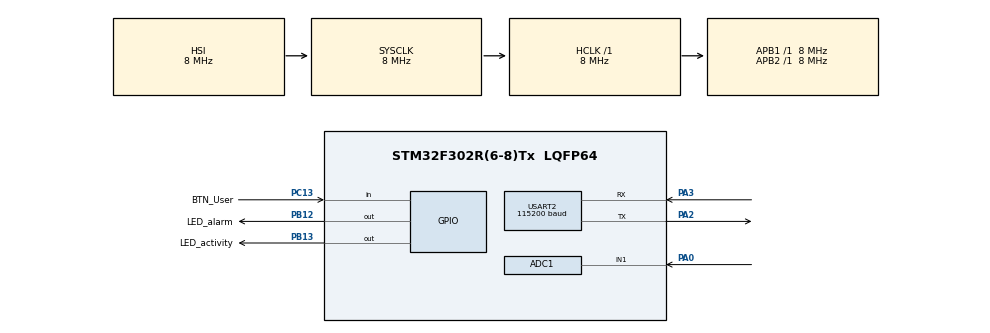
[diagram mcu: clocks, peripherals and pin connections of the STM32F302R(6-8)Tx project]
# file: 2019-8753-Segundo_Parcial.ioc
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ADC1.Channel-0\#ChannelRegularConversion=ADC_CHANNEL_1
ADC1.NbrOfConversionFlag=1
ADC1.Offset-0\#ChannelRegularConversion=0
ADC1.OffsetNumber-0\#ChannelRegularConversion=ADC_OFFSET_NONE
ADC1.Rank-0\#ChannelRegularConversion=1
ADC1.SamplingTime-0\#ChannelRegularConversion=ADC_SAMPLETIME_61CYCLES_5
ADC1.SubFamily=STM32F302x8
ADC1.master=1
Mcu.Family=STM32F3
Mcu.Name=STM32F302R(6-8)Tx
Mcu.Package=LQFP64
NVIC.ADC1_IRQn=true\:0\:0\:false\:false\:true\:true\:true
NVIC.PriorityGroup=NVIC_PRIORITYGROUP_4
NVIC.TIM6_DAC_IRQn=true\:0\:0\:false\:false\:true\:true\:true
NVIC.USART2_IRQn=true\:0\:0\:false\:false\:true\:true\:true
PA0.Mode=IN1-Single-Ended
PA0.Signal=ADC1_IN1
PA2.Mode=Asynchronous
PA2.Signal=USART2_TX
PA3.Mode=Asynchronous
PA3.Signal=USART2_RX
PB12.GPIO_Label=LED_alarm
PB12.Signal=GPIO_Output
PB13.GPIO_Label=LED_activity
PB13.Signal=GPIO_Output
PC13.GPIO_Label=BTN_User
PC13.Signal=GPIO_Input
ProjectManager.HeapSize=0x200
ProjectManager.StackSize=0x400
ProjectManager.TargetToolchain=STM32CubeIDE
RCC.AHBFreq_Value=8000000
RCC.APB1Freq_Value=8000000
RCC.APB2Freq_Value=8000000
RCC.CortexFreq_Value=8000000
RCC.HSE_VALUE=8000000
RCC.HSI_VALUE=8000000
RCC.LSE_VALUE=32768
RCC.PLLMUL=RCC_PLL_MUL4
RCC.SYSCLKFreq_VALUE=8000000
RCC.USBFreq_Value=16000000
TIM6.Period=99
TIM6.Prescaler=79
USART2.BaudRate=115200
USART2.VirtualMode-Asynchronous=VM_ASYNC
VP_TIM6_VS_ClockSourceINT.Mode=Enable_Timer
board=custom

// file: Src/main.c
/* USER CODE BEGIN Header */
/**
  ******************************************************************************
  * @file           : main.c
  * @brief          : Main program body
  ******************************************************************************
  * @attention
  *
  * <h2><center>&copy; Copyright (c) 2026 STMicroelectronics.
  * All rights reserved.</center></h2>
  *
  * This software component is licensed by ST under BSD 3-Clause license,
  * the "License"; You may not use this file except in compliance with the
  * License. You may obtain a copy of the License at:
  *                        opensource.org/licenses/BSD-3-Clause
  *
  ******************************************************************************
  */
/* USER CODE END Header */

#include "main.h"

/* USER CODE BEGIN Includes */

#include <string.h>
#include <stdio.h>

/* USER CODE END Includes */

ADC_HandleTypeDef hadc1;

TIM_HandleTypeDef htim6;

UART_HandleTypeDef huart2;

/* USER CODE BEGIN PV */
volatile uint32_t g_msTicks = 0;

volatile uint16_t g_adcValue = 0;
volatile uint8_t g_adcPct = 0;
volatile uint8_t g_adcValid = 0;

static uint32_t adcLastSampleMs = 0;
static volatile uint8_t adcBusy = 0;

volatile uint32_t g_adcSampleCount = 0;
volatile uint32_t g_adcLastInterval = 0;
volatile uint32_t g_adcLastTime = 0;

static uint32_t ledLastToggleMs = 0;
static uint32_t uartLastTelemetryMs = 0U;

volatile uint8_t g_buttonRaw = 0;

/* Control del boton USER B1 - PC13 */
static uint8_t buttonRawState = GPIO_PIN_SET;
static uint8_t buttonStableState = GPIO_PIN_SET;
static uint32_t buttonLastChangeMs = 0;

volatile uint32_t g_buttonPressCount = 0;

/* Modos de funcionamiento */
#define MODE_RUN   0U
#define MODE_PAUSE 1U

volatile uint8_t g_systemMode = MODE_RUN;

/* Control de alarma */
#define ALARM_THRESHOLD_DEFAULT 70U
#define ALARM_HYSTERESIS         5U

volatile uint8_t g_alarmThreshold = ALARM_THRESHOLD_DEFAULT;
volatile uint8_t g_alarmActive = 0U;

static uint8_t alarmForceReevaluate = 1U;

/* Mensaje de bienvenida UART */
static uint8_t uartWelcomeMsg[] =
    "\r\nSEGUNDO PARCIAL - STM32\r\n"
    "UART USART2 INICIADA\r\n";

/* Recepcion UART por interrupciones */
#define UART_MAX_LINE_LENGTH 32U
#define UART_RX_BUFFER_SIZE (UART_MAX_LINE_LENGTH + 1U)

static uint8_t uartRxByte;

#define UART_QUEUE_SIZE 8U

#define UART_EVENT_COMMAND 1U
#define UART_EVENT_ERROR   2U

typedef struct
{
    uint8_t type;
    char text[UART_RX_BUFFER_SIZE];
} UART_Event_t;

static uint8_t uartRxIndex = 0U;
static char uartRxBuffer[UART_RX_BUFFER_SIZE];

/* Cola FIFO de eventos UART */
static UART_Event_t uartQueue[UART_QUEUE_SIZE];

static volatile uint8_t uartQueueHead = 0U;
static volatile uint8_t uartQueueTail = 0U;
static volatile uint8_t uartQueueCount = 0U;

/* Cola de transmision UART */
#define UART_TX_QUEUE_SIZE 8U
#define UART_TX_MESSAGE_SIZE 96U

static char uartTxQueue[UART_TX_QUEUE_SIZE][UART_TX_MESSAGE_SIZE];

static volatile uint8_t uartTxHead = 0U;
static volatile uint8_t uartTxTail = 0U;
static volatile uint8_t uartTxCount = 0U;
static volatile uint8_t uartTxBusy = 0U;

static volatile uint32_t uartTxOverflowCount = 0U;

/* Indica que la linea actual debe descartarse hasta LF */
static volatile uint8_t uartDiscardLine = 0U;

/* Estadisticas de recepcion */
static volatile uint32_t uartLinesReceived = 0U;
static volatile uint32_t uartRxOverflowCount = 0U;

static const char uartErrorMsg[] = "ERR\r\n";
/* USER CODE END PV */

void SystemClock_Config(void);
static void MX_GPIO_Init(void);
static void MX_ADC1_Init(void);
static void MX_TIM6_Init(void);
static void MX_USART2_UART_Init(void);
/* USER CODE BEGIN PFP */
static void Button_Update(uint32_t now);

static void Alarm_Update(void);

static void UART_SendResponse(const char *message);

static void UART_SendStatus(void);

static uint8_t UART_ParseThreshold(const char *command, uint8_t *threshold);
static void UART_QueuePush(uint8_t type, const char *text);

static uint8_t UART_TxEnqueue(const char *message);
static void UART_TxStartNext(void);

/* USER CODE END PFP */

int main(void)
{

  /* MCU Configuration--------------------------------------------------------*/

  /* Reset of all peripherals, Initializes the Flash interface and the Systick. */
  HAL_Init();

  /* Configure the system clock */
  SystemClock_Config();

  /* Initialize all configured peripherals */
  MX_GPIO_Init();
  MX_ADC1_Init();
  MX_TIM6_Init();
  MX_USART2_UART_Init();
  /* USER CODE BEGIN 2 */
  if (HAL_TIM_Base_Start_IT(&htim6) != HAL_OK)
  {
      Error_Handler();
  }

  if (HAL_ADCEx_Calibration_Start(&hadc1, ADC_SINGLE_ENDED) != HAL_OK)
  {
      Error_Handler();
  }

  /* Enviar mensaje de bienvenida por USART2 */
  HAL_UART_Transmit(
      &huart2,
      uartWelcomeMsg,
      sizeof(uartWelcomeMsg) - 1U,
      100U
  );

  /* Iniciar recepcion UART por interrupciones */
  if (HAL_UART_Receive_IT(&huart2, &uartRxByte, 1U) != HAL_OK)
  {
      Error_Handler();
  }
  /* USER CODE END 2 */

  /* Infinite loop */
  while (1)
  {

      /* USER CODE BEGIN 3 */

      uint32_t now = g_msTicks;
      Button_Update(now);
      Alarm_Update();
      g_buttonRaw = (uint8_t)HAL_GPIO_ReadPin(GPIOC, GPIO_PIN_13);

      /* ADC cada 100 ms */
      if ((uint32_t)(now - adcLastSampleMs) >= 100U)
      {
          adcLastSampleMs += 100U;

          if (adcBusy == 0U)
          {
              adcBusy = 1U;

              if (HAL_ADC_Start_IT(&hadc1) != HAL_OK)
              {
                  adcBusy = 0U;
              }
          }
      }

      /* LED cada 500 ms */
      if ((uint32_t)(now - ledLastToggleMs) >= 500U)
      {
          ledLastToggleMs += 500U;

          HAL_GPIO_TogglePin(GPIOB, GPIO_PIN_13);
      }

      /* Telemetria automatica cada 1000 ms */
      if ((uint32_t)(now - uartLastTelemetryMs) >= 1000U)
      {
          uartLastTelemetryMs += 1000U;
          UART_SendStatus();
      }

      /* Procesar una linea UART recibida */
      /* Procesar el siguiente evento UART de la cola FIFO */
      if (uartQueueCount > 0U)
      {
          UART_Event_t eventToProcess;
          uint8_t hasEvent = 0U;

          /* Extraer el evento de forma segura */
          __disable_irq();

          if (uartQueueCount > 0U)
          {
              eventToProcess = uartQueue[uartQueueTail];

              uartQueueTail =
                  (uint8_t)((uartQueueTail + 1U) % UART_QUEUE_SIZE);

              uartQueueCount--;
              hasEvent = 1U;
          }

          __enable_irq();

          if (hasEvent != 0U)
          {
              if (eventToProcess.type == UART_EVENT_ERROR)
              {
                  UART_SendResponse(uartErrorMsg);
              }
              else if (eventToProcess.type == UART_EVENT_COMMAND)
              {
                  const char *commandToProcess = eventToProcess.text;

                  if (strcmp(commandToProcess, "STATUS") == 0)
                  {
                      UART_SendStatus();
                  }
                  else if (strcmp(commandToProcess, "STOP") == 0)
                  {
                      g_systemMode = MODE_PAUSE;
                      Alarm_Update();

                      UART_SendResponse("OK PAUSE\r\n");
                  }
                  else if (strcmp(commandToProcess, "START") == 0)
                  {
                      if (g_systemMode == MODE_PAUSE)
                      {
                          g_systemMode = MODE_RUN;
                          Alarm_Update();
                      }

                      UART_SendResponse("OK RUN\r\n");
                  }
                  else if (strncmp(commandToProcess, "THR ", 4U) == 0)
                  {
                      uint8_t newThreshold;

                      if (UART_ParseThreshold(
                              commandToProcess,
                              &newThreshold) != 0U)
                      {
                          char response[24];

                          g_alarmThreshold = newThreshold;

                          if (g_systemMode == MODE_RUN)
                          {
                              alarmForceReevaluate = 1U;
                              Alarm_Update();
                          }

                          snprintf(
                              response,
                              sizeof(response),
                              "OK THR=%u\r\n",
                              (unsigned int)newThreshold
                          );

                          UART_SendResponse(response);
                      }
                      else
                      {
                          UART_SendResponse(uartErrorMsg);
                      }
                  }
                  else
                  {
                      UART_SendResponse(uartErrorMsg);
                  }
              }
          }
      }
      /* Iniciar el siguiente mensaje pendiente de la cola TX */
      UART_TxStartNext();
      /* USER CODE END 3 */
  }
      /* USER CODE END WHILE */
}
void SystemClock_Config(void)
{
  RCC_OscInitTypeDef RCC_OscInitStruct = {0};
  RCC_ClkInitTypeDef RCC_ClkInitStruct = {0};
  RCC_PeriphCLKInitTypeDef PeriphClkInit = {0};

  /** Initializes the CPU, AHB and APB busses clocks
  */
  RCC_OscInitStruct.OscillatorType = RCC_OSCILLATORTYPE_HSI;
  RCC_OscInitStruct.HSIState = RCC_HSI_ON;
  RCC_OscInitStruct.HSICalibrationValue = RCC_HSICALIBRATION_DEFAULT;
  RCC_OscInitStruct.PLL.PLLState = RCC_PLL_ON;
  RCC_OscInitStruct.PLL.PLLSource = RCC_PLLSOURCE_HSI;
  RCC_OscInitStruct.PLL.PLLMUL = RCC_PLL_MUL4;
  if (HAL_RCC_OscConfig(&RCC_OscInitStruct) != HAL_OK)
  {
    Error_Handler();
  }
  /** Initializes the CPU, AHB and APB busses clocks
  */
  RCC_ClkInitStruct.ClockType = RCC_CLOCKTYPE_HCLK|RCC_CLOCKTYPE_SYSCLK
                              |RCC_CLOCKTYPE_PCLK1|RCC_CLOCKTYPE_PCLK2;
  RCC_ClkInitStruct.SYSCLKSource = RCC_SYSCLKSOURCE_HSI;
  RCC_ClkInitStruct.AHBCLKDivider = RCC_SYSCLK_DIV1;
  RCC_ClkInitStruct.APB1CLKDivider = RCC_HCLK_DIV1;
  RCC_ClkInitStruct.APB2CLKDivider = RCC_HCLK_DIV1;

  if (HAL_RCC_ClockConfig(&RCC_ClkInitStruct, FLASH_LATENCY_0) != HAL_OK)
  {
    Error_Handler();
  }
  PeriphClkInit.PeriphClockSelection = RCC_PERIPHCLK_ADC1;
  PeriphClkInit.Adc1ClockSelection = RCC_ADC1PLLCLK_DIV1;

  if (HAL_RCCEx_PeriphCLKConfig(&PeriphClkInit) != HAL_OK)
  {
    Error_Handler();
  }
}

static void MX_ADC1_Init(void)
{

  ADC_ChannelConfTypeDef sConfig = {0};

  /** Common config
  */
  hadc1.Instance = ADC1;
  hadc1.Init.ClockPrescaler = ADC_CLOCK_ASYNC_DIV1;
  hadc1.Init.Resolution = ADC_RESOLUTION_12B;
  hadc1.Init.ScanConvMode = ADC_SCAN_DISABLE;
  hadc1.Init.ContinuousConvMode = DISABLE;
  hadc1.Init.DiscontinuousConvMode = DISABLE;
  hadc1.Init.ExternalTrigConvEdge = ADC_EXTERNALTRIGCONVEDGE_NONE;
  hadc1.Init.ExternalTrigConv = ADC_SOFTWARE_START;
  hadc1.Init.DataAlign = ADC_DATAALIGN_RIGHT;
  hadc1.Init.NbrOfConversion = 1;
  hadc1.Init.DMAContinuousRequests = DISABLE;
  hadc1.Init.EOCSelection = ADC_EOC_SINGLE_CONV;
  hadc1.Init.LowPowerAutoWait = DISABLE;
  hadc1.Init.Overrun = ADC_OVR_DATA_OVERWRITTEN;
  if (HAL_ADC_Init(&hadc1) != HAL_OK)
  {
    Error_Handler();
  }
  /** Configure Regular Channel
  */
  sConfig.Channel = ADC_CHANNEL_1;
  sConfig.Rank = ADC_REGULAR_RANK_1;
  sConfig.SingleDiff = ADC_SINGLE_ENDED;
  sConfig.SamplingTime = ADC_SAMPLETIME_61CYCLES_5;
  sConfig.OffsetNumber = ADC_OFFSET_NONE;
  sConfig.Offset = 0;
  if (HAL_ADC_ConfigChannel(&hadc1, &sConfig) != HAL_OK)
  {
    Error_Handler();
  }

}

static void MX_TIM6_Init(void)
{

  TIM_MasterConfigTypeDef sMasterConfig = {0};

  htim6.Instance = TIM6;
  htim6.Init.Prescaler = 79;
  htim6.Init.CounterMode = TIM_COUNTERMODE_UP;
  htim6.Init.Period = 99;
  htim6.Init.AutoReloadPreload = TIM_AUTORELOAD_PRELOAD_DISABLE;
  if (HAL_TIM_Base_Init(&htim6) != HAL_OK)
  {
    Error_Handler();
  }
  sMasterConfig.MasterOutputTrigger = TIM_TRGO_RESET;
  sMasterConfig.MasterSlaveMode = TIM_MASTERSLAVEMODE_DISABLE;
  if (HAL_TIMEx_MasterConfigSynchronization(&htim6, &sMasterConfig) != HAL_OK)
  {
    Error_Handler();
  }

}

static void MX_USART2_UART_Init(void)
{

  huart2.Instance = USART2;
  huart2.Init.BaudRate = 115200;
  huart2.Init.WordLength = UART_WORDLENGTH_8B;
  huart2.Init.StopBits = UART_STOPBITS_1;
  huart2.Init.Parity = UART_PARITY_NONE;
  huart2.Init.Mode = UART_MODE_TX_RX;
  huart2.Init.HwFlowCtl = UART_HWCONTROL_NONE;
  huart2.Init.OverSampling = UART_OVERSAMPLING_16;
  huart2.Init.OneBitSampling = UART_ONE_BIT_SAMPLE_DISABLE;
  huart2.AdvancedInit.AdvFeatureInit = UART_ADVFEATURE_NO_INIT;
  if (HAL_UART_Init(&huart2) != HAL_OK)
  {
    Error_Handler();
  }

}

static void MX_GPIO_Init(void)
{
  GPIO_InitTypeDef GPIO_InitStruct = {0};

  /* GPIO Ports Clock Enable */
  __HAL_RCC_GPIOC_CLK_ENABLE();
  __HAL_RCC_GPIOA_CLK_ENABLE();
  __HAL_RCC_GPIOB_CLK_ENABLE();

  /*Configure GPIO pin Output Level */
  HAL_GPIO_WritePin(GPIOB, LED_alarm_Pin|LED_activity_Pin, GPIO_PIN_RESET);

  /*Configure GPIO pin : BTN_User_Pin */
  GPIO_InitStruct.Pin = BTN_User_Pin;
  GPIO_InitStruct.Mode = GPIO_MODE_INPUT;
  GPIO_InitStruct.Pull = GPIO_NOPULL;
  HAL_GPIO_Init(BTN_User_GPIO_Port, &GPIO_InitStruct);

  /*Configure GPIO pins : LED_alarm_Pin LED_activity_Pin */
  GPIO_InitStruct.Pin = LED_alarm_Pin|LED_activity_Pin;
  GPIO_InitStruct.Mode = GPIO_MODE_OUTPUT_PP;
  GPIO_InitStruct.Pull = GPIO_NOPULL;
  GPIO_InitStruct.Speed = GPIO_SPEED_FREQ_LOW;
  HAL_GPIO_Init(GPIOB, &GPIO_InitStruct);

}

/* USER CODE BEGIN 4 */
void HAL_TIM_PeriodElapsedCallback(TIM_HandleTypeDef *htim)
{
    if (htim->Instance == TIM6)
    {
        g_msTicks++;
    }
}

void HAL_ADC_ConvCpltCallback(ADC_HandleTypeDef *hadc)
{
    if (hadc->Instance == ADC1)
    {
        uint32_t value = HAL_ADC_GetValue(hadc);

        g_adcValue = (uint16_t)value;
        g_adcPct = (uint8_t)((100UL * value + 2047UL) / 4095UL);
        g_adcValid = 1;
        uint32_t now = g_msTicks;

        if (g_adcSampleCount > 0U)
        {
            g_adcLastInterval = now - g_adcLastTime;
        }

        g_adcLastTime = now;
        g_adcSampleCount++;
        adcBusy = 0;
    }
}

static void Button_Update(uint32_t now)
{
    uint8_t raw = (uint8_t)HAL_GPIO_ReadPin(GPIOC, GPIO_PIN_13);

    /* Detectar cualquier cambio instantaneo */
    if (raw != buttonRawState)
    {
        buttonRawState = raw;
        buttonLastChangeMs = now;
    }

    /* Confirmar que el estado lleva 30 ms estable */
    if ((uint32_t)(now - buttonLastChangeMs) >= 30U)
    {
        if (buttonStableState != buttonRawState)
        {
            buttonStableState = buttonRawState;

            /* Pulsacion valida: PC13 pasa a nivel bajo */
            if (buttonStableState == GPIO_PIN_RESET)
            {
                g_buttonPressCount++;

                if (g_systemMode == MODE_RUN)
                {
                    g_systemMode = MODE_PAUSE;
                }
                else
                {
                    g_systemMode = MODE_RUN;
                }
            }
        }
    }
}

static void Alarm_Update(void)
{
    /* En PAUSE la alarma siempre permanece apagada */
    if (g_systemMode == MODE_PAUSE)
    {
        g_alarmActive = 0U;
        alarmForceReevaluate = 1U;
    }
    else if (g_adcValid == 0U)
    {
        /* Sin lectura valida, mantener alarma apagada */
        g_alarmActive = 0U;
    }
    else if (alarmForceReevaluate != 0U)
    {
        /* Entrada a RUN: evaluar sin estado anterior */
        g_alarmActive =
            (g_adcPct >= g_alarmThreshold) ? 1U : 0U;

        alarmForceReevaluate = 0U;
    }
    else if (g_alarmActive == 0U)
    {
        /* Encendido al alcanzar el umbral */
        if (g_adcPct >= g_alarmThreshold)
        {
            g_alarmActive = 1U;
        }
    }
    else
    {
        /* Apagado con histeresis de 5 puntos */
        uint8_t lowerThreshold =
            (g_alarmThreshold >= ALARM_HYSTERESIS)
            ? (g_alarmThreshold - ALARM_HYSTERESIS)
            : 0U;

        if (g_adcPct < lowerThreshold)
        {
            g_alarmActive = 0U;
        }
    }

    /* Actualizar salida fisica PB12 */
    HAL_GPIO_WritePin(
        GPIOB,
        GPIO_PIN_12,
        (g_alarmActive != 0U) ? GPIO_PIN_SET : GPIO_PIN_RESET
    );
}

static uint8_t UART_TxEnqueue(const char *message)
{
    size_t length = strlen(message);

    /* Verificar que el mensaje cabe en el buffer */
    if (length == 0U || length >= UART_TX_MESSAGE_SIZE)
    {
        uartTxOverflowCount++;
        return 0U;
    }

    /* Proteger la cola frente a la interrupcion UART */
    uint32_t primask = __get_PRIMASK();
    __disable_irq();

    /* Verificar que existe espacio en la cola */
    if (uartTxCount >= UART_TX_QUEUE_SIZE)
    {
        uartTxOverflowCount++;
        __set_PRIMASK(primask);
        return 0U;
    }

    /* Guardar el mensaje completo */
    memcpy(uartTxQueue[uartTxHead], message, length + 1U);

    uartTxHead =
        (uint8_t)((uartTxHead + 1U) % UART_TX_QUEUE_SIZE);

    uartTxCount++;

    /* Restaurar el estado anterior de las interrupciones */
    __set_PRIMASK(primask);

    return 1U;
}

static void UART_TxStartNext(void)
{
    uint8_t tail;

    /* Guardar el estado actual de las interrupciones */
    uint32_t primask = __get_PRIMASK();
    __disable_irq();

    /* No iniciar si UART esta ocupada o la cola esta vacia */
    if (uartTxBusy != 0U || uartTxCount == 0U)
    {
        __set_PRIMASK(primask);
        return;
    }

    /* Reservar el mensaje que vamos a transmitir */
    tail = uartTxTail;
    uartTxBusy = 1U;

    /* Restaurar las interrupciones antes de iniciar UART */
    __set_PRIMASK(primask);

    /* Iniciar transmision sin bloquear el programa */
    if (HAL_UART_Transmit_IT(
            &huart2,
            (uint8_t *)uartTxQueue[tail],
            (uint16_t)strlen(uartTxQueue[tail])) != HAL_OK)
    {
        /* Liberar el estado ocupado si no pudo iniciar */
        primask = __get_PRIMASK();
        __disable_irq();

        uartTxBusy = 0U;

        __set_PRIMASK(primask);
    }
}

void HAL_UART_TxCpltCallback(UART_HandleTypeDef *huart)
{
    if (huart->Instance == USART2)
    {
        if ((uartTxBusy != 0U) && (uartTxCount > 0U))
        {
            /* Retirar el mensaje que termino de transmitirse */
            uartTxTail =
                (uint8_t)((uartTxTail + 1U) % UART_TX_QUEUE_SIZE);

            uartTxCount--;
        }

        uartTxBusy = 0U;
    }
}

static void UART_SendResponse(const char *message)
{
    /* Guardar el mensaje para transmitirlo sin bloquear */
    (void)UART_TxEnqueue(message);
}

static void UART_SendStatus(void)
{
    char statusLine[96];

    uint32_t now = g_msTicks;
    uint16_t adc = g_adcValue;
    uint8_t pct = g_adcPct;
    uint8_t threshold = g_alarmThreshold;
    uint8_t mode = g_systemMode;
    uint8_t alarm = g_alarmActive;

    int length = snprintf(
        statusLine,
        sizeof(statusLine),
        "t=%lu;ADC=%u;PCT=%u;THR=%u;MODE=%s;ALARM=%u\r\n",
        (unsigned long)now,
        (unsigned int)adc,
        (unsigned int)pct,
        (unsigned int)threshold,
        (mode == MODE_RUN) ? "RUN" : "PAUSE",
        (unsigned int)alarm
    );

    if (length > 0 && length < (int)sizeof(statusLine))
    {
        UART_SendResponse(statusLine);
    }
}

static uint8_t UART_ParseThreshold(const char *command, uint8_t *threshold)
{
    uint32_t value = 0U;
    uint32_t index = 4U;

    /* El comando debe comenzar exactamente con "THR " */
    if (strncmp(command, "THR ", 4U) != 0)
    {
        return 0U;
    }

    /* Debe existir al menos un digito */
    if (command[index] == '\0')
    {
        return 0U;
    }

    /* Solo se permiten digitos decimales */
    while (command[index] != '\0')
    {
        char character = command[index];

        if (character < '0' || character > '9')
        {
            return 0U;
        }

        value = (value * 10U) + (uint32_t)(character - '0');

        /* Rechazar valores fuera de rango */
        if (value > 95U)
        {
            return 0U;
        }

        index++;
    }

    if (value < 10U)
    {
        return 0U;
    }

    *threshold = (uint8_t)value;

    return 1U;
}

static void UART_QueuePush(uint8_t type, const char *text)
{
    uint8_t head = uartQueueHead;

    /* No sobrescribir eventos pendientes */
    if (uartQueueCount >= UART_QUEUE_SIZE)
    {
        uartRxOverflowCount++;
        return;
    }

    uartQueue[head].type = type;

    if ((type == UART_EVENT_COMMAND) && (text != NULL))
    {
        size_t length = strlen(text);

        if (length > UART_MAX_LINE_LENGTH)
        {
            length = UART_MAX_LINE_LENGTH;
        }

        memcpy(uartQueue[head].text, text, length);
        uartQueue[head].text[length] = '\0';
    }
    else
    {
        uartQueue[head].text[0] = '\0';
    }

    uartQueueHead = (uint8_t)((head + 1U) % UART_QUEUE_SIZE);
    uartQueueCount++;
}

void HAL_UART_RxCpltCallback(UART_HandleTypeDef *huart)
{
    if (huart->Instance == USART2)
    {
        char receivedChar = (char)uartRxByte;

        if (receivedChar == '\n')
        {
            if (uartDiscardLine != 0U)
            {
                /* Linea demasiado larga: generar un solo ERR */
                UART_QueuePush(UART_EVENT_ERROR, NULL);

                uartRxOverflowCount++;
                uartRxIndex = 0U;
                uartDiscardLine = 0U;
            }
            else if (uartRxIndex > 0U)
            {
                /* Linea completa: guardar el comando en la FIFO */
                uartRxBuffer[uartRxIndex] = '\0';

                UART_QueuePush(
                    UART_EVENT_COMMAND,
                    uartRxBuffer
                );

                uartLinesReceived++;
                uartRxIndex = 0U;
            }
            /* Las lineas vacias se ignoran */
        }
        else if (receivedChar == '\r')
        {
            /* Ignorar CR y esperar LF */
        }
        else if (uartDiscardLine == 0U)
        {
            if (uartRxIndex < UART_MAX_LINE_LENGTH)
            {
                uartRxBuffer[uartRxIndex] = receivedChar;
                uartRxIndex++;
            }
            else
            {
                /* Descartar hasta recibir LF */
                uartRxIndex = 0U;
                uartDiscardLine = 1U;
            }
        }

        /* Reactivar la recepcion del siguiente byte */
        (void)HAL_UART_Receive_IT(
            &huart2,
            &uartRxByte,
            1U
        );
    }
}
/* USER CODE END 4 */

void Error_Handler(void)
{
}

/************************ (C) COPYRIGHT STMicroelectronics *****END OF FILE****/
